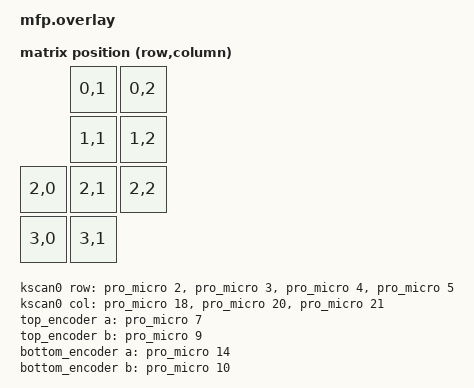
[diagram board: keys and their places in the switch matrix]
#include <dt-bindings/zmk/matrix_transform.h>
#include "mfp_physical_layout.dtsi"

&borland04_mfp_layout {
    transform = <&default_transform>;
};

/ {
    chosen {
        zmk,kscan = &kscan0;
    };

    default_transform: keymap_transform_0 {
        compatible = "zmk,matrix-transform";
        columns = <3>;
        rows = <4>;

        map = <
        RC(0,1) RC(0,2)
        RC(1,1) RC(1,2)
RC(2,0) RC(2,1) RC(2,2)
RC(3,0)     RC(3,1)
        >;
    };

    kscan0: kscan {
        compatible = "zmk,kscan-gpio-matrix";
        wakeup-source;

        diode-direction = "col2row";
        row-gpios
            = <&pro_micro 2 (GPIO_ACTIVE_HIGH | GPIO_PULL_DOWN)>
            , <&pro_micro 3 (GPIO_ACTIVE_HIGH | GPIO_PULL_DOWN)>
            , <&pro_micro 4 (GPIO_ACTIVE_HIGH | GPIO_PULL_DOWN)>
            , <&pro_micro 5 (GPIO_ACTIVE_HIGH | GPIO_PULL_DOWN)>
            ;

        col-gpios
            = <&pro_micro 18 GPIO_ACTIVE_HIGH>
            , <&pro_micro 20 GPIO_ACTIVE_HIGH>
            , <&pro_micro 21 GPIO_ACTIVE_HIGH>
            ;
    };

    top_encoder: encoder_left {
        compatible = "alps,ec11";
        a-gpios = <&pro_micro 7 (GPIO_ACTIVE_HIGH | GPIO_PULL_UP)>;
        b-gpios = <&pro_micro 9 (GPIO_ACTIVE_HIGH | GPIO_PULL_UP)>;
        steps = <80>;
        status = "okay";
    };

    bottom_encoder: encoder_right {
        compatible = "alps,ec11";
        a-gpios = <&pro_micro 14 (GPIO_ACTIVE_HIGH | GPIO_PULL_UP)>;
        b-gpios = <&pro_micro 10 (GPIO_ACTIVE_HIGH | GPIO_PULL_UP)>;
        steps = <80>;
        status = "okay";
    };

    sensors: sensors {
        compatible = "zmk,keymap-sensors";
        sensors = <&top_encoder &bottom_encoder>;
        triggers-per-rotation = <20>;
    };
};
